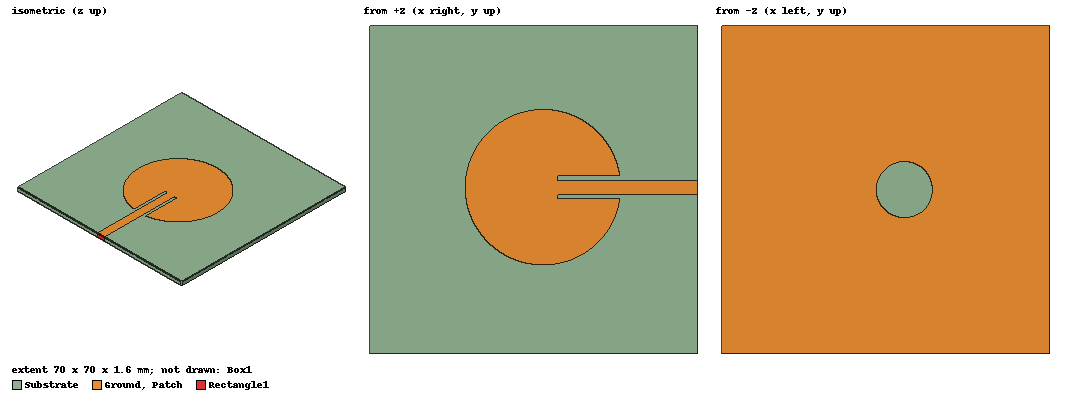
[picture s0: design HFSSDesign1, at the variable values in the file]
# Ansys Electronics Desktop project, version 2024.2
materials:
  vacuum: permittivity=1
  FR4_epoxy: permittivity=4.4 dielectric_loss_tangent=0.02
  copper: permeability=0.999991 conductivity=58000000
  air: permittivity=1.0006 permeability=1.0000004

design HFSSDesign1 (HFSS, HFSS Terminal Network, model units mm)
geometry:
  Ground = rectangle(corner=(0mm, 0mm, 0mm), x_size=70mm, y_size=70mm)
  Substrate [FR4_epoxy] = box(corner=(0mm, 0mm, 0mm), size=(70mm, 70mm, 1.6mm))
  Patch = circle(normal=Z, centre=(37mm, 35.5mm, 1.6mm), radius=16.59mm)
  Subtract = rectangle(corner=(40.2mm, 33mm, 1.6mm), x_size=14mm, y_size=5mm)
  Patch.subtract(Subtract)
  Feedline = rectangle(corner=(40mm, 34mm, 1.6mm), x_size=30mm, y_size=3mm)
  Rectangle1 = rectangle(corner=(70mm, 34mm, 1.6mm), y_size=3mm, z_size=-1.6mm)
  Patch.unite(Feedline)
  Box1 [air] = box(corner=(-10mm, -10mm, -23mm), size=(90mm, 90mm, 50mm))
  Ellipse1 = ellipse(normal=Z, centre=(31mm, 35mm, 0mm), major_radius=6mm, ratio=1)
  Ground.subtract(Ellipse1)
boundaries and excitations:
  FiniteCond1: Finite Conductivity Objects=Ground UseMaterial Material=copper IsInternal
  FiniteCond2: Finite Conductivity Objects=Patch UseMaterial Material=copper IsInternal
  Rad1: Radiation Objects=Box1
  Patch_T1: Terminal port=1 Edges=Patch.edge(at (70, 35.5, 1.6)) TerminalResistance=50ohm
  1: Lumped Port Faces=Rectangle1.face LumpedPortType=Terminal Impedance=50ohm
  reference conductors: Ground
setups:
  Setup1: HfssDriven Frequency=2.45GHz MaxDeltaS=0.02 MaximumPasses=20 MinimumPasses=1 MinimumConvergedPasses=1 PercentRefinement=30 BasisOrder=1 PortAccuracy=2 DrivenSolverType="Direct Solver"
    sweep Sweep: 1GHz to 3GHz, 401 points; Type=Fast SaveFields
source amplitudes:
  1:1: 1V 0deg
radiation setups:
  Infinite Sphere1: Infinite Sphere Theta=-180deg..180deg step 2deg Phi=0deg..180deg step 2deg
  Infinite Sphere2: Infinite Sphere Theta=-180deg..180deg step 2deg Phi=0deg..90deg step 90deg
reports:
  Terminal S Parameter Plot 1: dB(St(Patch_T1,Patch_T1)) vs Freq on Setup1 : Sweep; markers m1 at 2.413498GHz, m2 at 2.4716598GHz, m3 at 2.445GHz
  Gain Plot 1: dB(GainTotal) vs Phi, Theta on Setup1 : LastAdaptive, Infinite Sphere1 [Freq=2.45GHz]
  Directivity Plot 1: dB(DirTotal) vs Phi, Theta on Setup1 : LastAdaptive, Infinite Sphere1 [Freq=2.45GHz]
  Gain Plot 2: dB(GainTotal) vs Theta on Setup1 : LastAdaptive, Infinite Sphere2 [Phi=all Freq=2.45GHz]
